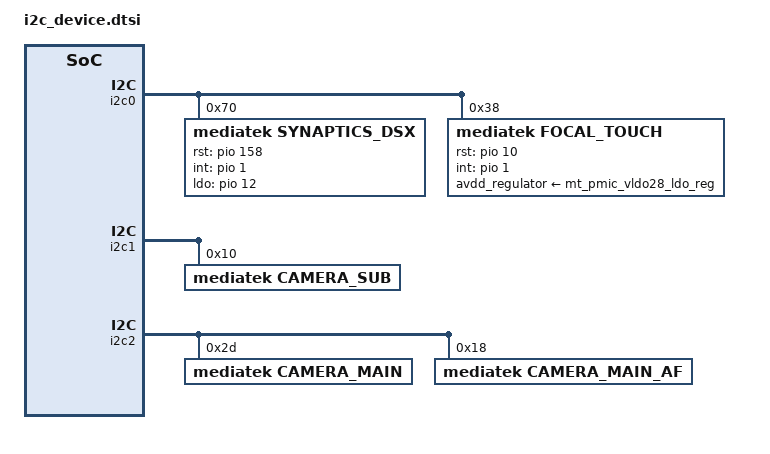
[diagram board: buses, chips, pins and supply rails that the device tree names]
/*

 */

/*************************
 * I2C dtsi file
*************************/
&i2c0 {
	synaptics_dsx@70 {
		compatible = "mediatek,synaptics_dsx";
		reg = <0x70>;
		rst-gpio = <&pio 158 0>;
		int-gpio = <&pio 1 0>;
		interrupt-parent = <&eintc>;
		interrupts = <1 2>;
		debounce = <10 0>;
		ldo-gpio = <&pio 12 0>;
	};
	
	focal_touch@38 {
		compatible = "mediatek,focal_touch";
		reg = <0x38>;
		rst-gpio = <&pio 10 0>;
		int-gpio = <&pio 1 0>;
		interrupt-parent = <&eintc>;
		interrupts = <1 2>;
		debounce = <10 0>;
		avdd_regulator-supply = <&mt_pmic_vldo28_ldo_reg>;
	};
};
&i2c1 {
	camera_sub@10 {
		compatible = "mediatek,camera_sub";
		reg = <0x10>;
	};
};
&i2c2 {
		camera_main@2d {
		compatible = "mediatek,camera_main";
		reg = <0x2d>;
	};

	camera_main_af@18 {
		compatible = "mediatek,camera_main_af";
		reg = <0x18>;
	};
};
